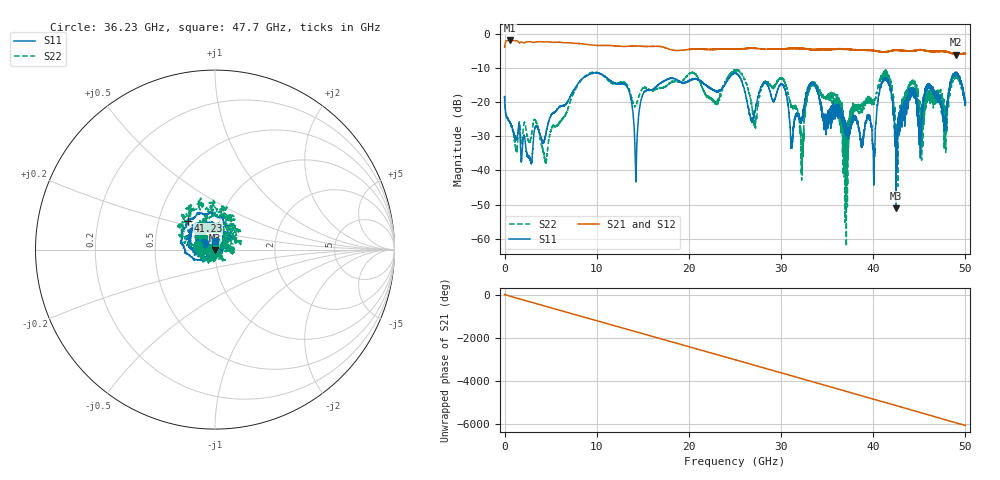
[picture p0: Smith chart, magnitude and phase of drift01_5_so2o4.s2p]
!Created with skrf (http://scikit-rf.org).
# Hz S RI R 50.0
!freq ReS11 ImS11 ReS21 ImS21 ReS12 ImS12 ReS22 ImS22
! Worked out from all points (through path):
!   10001 points, 300 kHz to 50 GHz, reference 50 ohm
!   highest |S21| = -2.00 dB at 595.3 MHz (marker M1); lowest = -6.1 dB at 48.98 GHz (marker M2)
!   group delay of S21, straight-line fit = 336 ps
!   lowest |S11| = -51.1 dB at 42.46 GHz (marker M3), VSWR 1.01, Z = 49.8 - j0.16 ohm
!   |S11| at or under -10 dB: start of sweep to end of sweep
!   |S22| runs from -62.2 to -10.5 dB; largest |S21 - S12| = 0.018
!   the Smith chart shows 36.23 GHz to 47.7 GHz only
!   S11 on the Smith chart (normalised r, x): 36.23 GHz: 0.88, +0.07; 41.23 GHz: 0.70, +0.24; 47.7 GHz: 0.99, +0.09
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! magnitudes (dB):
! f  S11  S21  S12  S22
! 300 kHz  -18.4  -4.0  -4.1  -18.3
! 595.3 MHz  -26.0  -2.0  -2.0  -26.1
! 4.435 GHz  -29.9  -2.4  -2.4  -37.0
! 8.335 GHz  -13.5  -3.0  -3.0  -13.5
! 13.16 GHz  -15.1  -3.8  -3.8  -14.7
! 14.25 GHz  -42.6  -3.6  -3.6  -21.1
! 16.67 GHz  -14.9  -3.7  -3.7  -15.9
! 25 GHz  -11.6  -4.5  -4.6  -11.0
! 27.14 GHz  -22.7  -4.3  -4.3  -25.6
! 30.2 GHz  -15.2  -4.5  -4.5  -13.3
! 32.23 GHz  -24.5  -4.3  -4.3  -35.7
! 33.34 GHz  -14.4  -4.7  -4.6  -14.6
! 36.23 GHz  -22.7  -4.5  -4.5  -20.3
! 37.03 GHz  -27.0  -4.5  -4.6  -32.4
! 40.03 GHz  -39.0  -5.0  -5.0  -20.6
! 41.23 GHz  -13.1  -5.4  -5.4  -11.7
! 41.67 GHz  -14.5  -5.1  -5.2  -12.4
! 42.46 GHz  -51.1  -4.8  -4.9  -36.9
! 44.19 GHz  -15.9  -5.1  -5.1  -13.7
! 47.7 GHz  -26.8  -5.2  -5.2  -25.4
! 48.98 GHz  -11.6  -6.1  -6.1  -12.9
! 50 GHz  -20.0  -5.8  -5.9  -19.6
